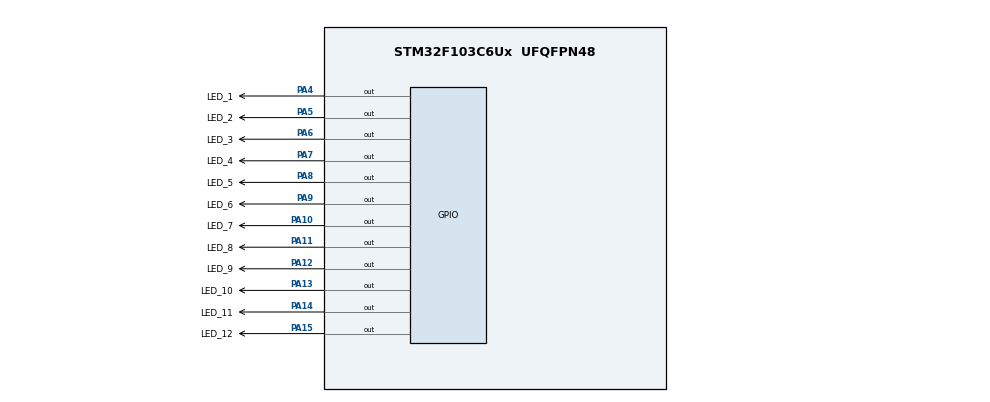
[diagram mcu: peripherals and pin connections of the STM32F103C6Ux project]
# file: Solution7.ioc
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Mcu.Family=STM32F1
Mcu.Name=STM32F103C6Ux
Mcu.Package=UFQFPN48
NVIC.PriorityGroup=NVIC_PRIORITYGROUP_4
PA10.GPIO_Label=LED_7
PA10.Signal=GPIO_Output
PA11.GPIO_Label=LED_8
PA11.Signal=GPIO_Output
PA12.GPIO_Label=LED_9
PA12.Signal=GPIO_Output
PA13.GPIO_Label=LED_10
PA13.Signal=GPIO_Output
PA14.GPIO_Label=LED_11
PA14.Signal=GPIO_Output
PA15.GPIO_Label=LED_12
PA15.Signal=GPIO_Output
PA4.GPIO_Label=LED_1
PA4.Signal=GPIO_Output
PA5.GPIO_Label=LED_2
PA5.Signal=GPIO_Output
PA6.GPIO_Label=LED_3
PA6.Signal=GPIO_Output
PA7.GPIO_Label=LED_4
PA7.Signal=GPIO_Output
PA8.GPIO_Label=LED_5
PA8.Signal=GPIO_Output
PA9.GPIO_Label=LED_6
PA9.Signal=GPIO_Output
ProjectManager.HeapSize=0x200
ProjectManager.StackSize=0x400
ProjectManager.TargetToolchain=STM32CubeIDE
RCC.APB1Freq_Value=8000000
RCC.APB2Freq_Value=8000000
VP_SYS_VS_ND.Mode=No_Debug
board=custom

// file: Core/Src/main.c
/* USER CODE BEGIN Header */
/**
  ******************************************************************************
  * @file           : main.c
  * @brief          : Main program body
  ******************************************************************************
  * @attention
  *
  * <h2><center>&copy; Copyright (c) 2022 STMicroelectronics.
  * All rights reserved.</center></h2>
  *
  * This software component is licensed by ST under BSD 3-Clause license,
  * the "License"; You may not use this file except in compliance with the
  * License. You may obtain a copy of the License at:
  *                        opensource.org/licenses/BSD-3-Clause
  *
  ******************************************************************************
  */
/* USER CODE END Header */
#include "main.h"

void SystemClock_Config(void);
static void MX_GPIO_Init(void);
/* USER CODE BEGIN PFP */
void clearAllClock();
/* USER CODE END PFP */

int main(void)
{
  /* USER CODE BEGIN 1 */
  int count = 0;
  /* USER CODE END 1 */

  /* MCU Configuration--------------------------------------------------------*/

  /* Reset of all peripherals, Initializes the Flash interface and the Systick. */
  HAL_Init();

  /* Configure the system clock */
  SystemClock_Config();

  /* Initialize all configured peripherals */
  MX_GPIO_Init();

  /* Infinite loop */
  /* USER CODE BEGIN WHILE */
  while (1)
  {
	if(count == 6) count = 0;
	if(count == 0) clearAllClock();
	if(count == 1){
		HAL_GPIO_WritePin(LED_1_GPIO_Port, LED_1_Pin, RESET);
		HAL_GPIO_WritePin(LED_2_GPIO_Port, LED_2_Pin, RESET);
		HAL_GPIO_WritePin(LED_3_GPIO_Port, LED_3_Pin, RESET);
		HAL_GPIO_WritePin(LED_4_GPIO_Port, LED_4_Pin, RESET);
	}
	if(count == 2) clearAllClock();
	if(count == 3){
		HAL_GPIO_WritePin(LED_1_GPIO_Port, LED_1_Pin, RESET);
		HAL_GPIO_WritePin(LED_3_GPIO_Port, LED_3_Pin, RESET);
		HAL_GPIO_WritePin(LED_5_GPIO_Port, LED_5_Pin, RESET);
		HAL_GPIO_WritePin(LED_7_GPIO_Port, LED_7_Pin, RESET);
		HAL_GPIO_WritePin(LED_9_GPIO_Port, LED_9_Pin, RESET);
		HAL_GPIO_WritePin(LED_11_GPIO_Port, LED_11_Pin, RESET);
	}
	if(count == 4) clearAllClock();
	if(count == 5) {
		HAL_GPIO_WritePin(LED_2_GPIO_Port, LED_2_Pin, RESET);
		HAL_GPIO_WritePin(LED_4_GPIO_Port, LED_4_Pin, RESET);
		HAL_GPIO_WritePin(LED_6_GPIO_Port, LED_6_Pin, RESET);
		HAL_GPIO_WritePin(LED_8_GPIO_Port, LED_8_Pin, RESET);
		HAL_GPIO_WritePin(LED_10_GPIO_Port, LED_10_Pin, RESET);
		HAL_GPIO_WritePin(LED_12_GPIO_Port, LED_12_Pin, RESET);
	}
	count++;
	HAL_Delay(1000);

    /* USER CODE END WHILE */

  }
}

void SystemClock_Config(void)
{
  RCC_OscInitTypeDef RCC_OscInitStruct = {0};
  RCC_ClkInitTypeDef RCC_ClkInitStruct = {0};

  /** Initializes the RCC Oscillators according to the specified parameters
  * in the RCC_OscInitTypeDef structure.
  */
  RCC_OscInitStruct.OscillatorType = RCC_OSCILLATORTYPE_HSI;
  RCC_OscInitStruct.HSIState = RCC_HSI_ON;
  RCC_OscInitStruct.HSICalibrationValue = RCC_HSICALIBRATION_DEFAULT;
  RCC_OscInitStruct.PLL.PLLState = RCC_PLL_NONE;
  if (HAL_RCC_OscConfig(&RCC_OscInitStruct) != HAL_OK)
  {
    Error_Handler();
  }
  /** Initializes the CPU, AHB and APB buses clocks
  */
  RCC_ClkInitStruct.ClockType = RCC_CLOCKTYPE_HCLK|RCC_CLOCKTYPE_SYSCLK
                              |RCC_CLOCKTYPE_PCLK1|RCC_CLOCKTYPE_PCLK2;
  RCC_ClkInitStruct.SYSCLKSource = RCC_SYSCLKSOURCE_HSI;
  RCC_ClkInitStruct.AHBCLKDivider = RCC_SYSCLK_DIV1;
  RCC_ClkInitStruct.APB1CLKDivider = RCC_HCLK_DIV1;
  RCC_ClkInitStruct.APB2CLKDivider = RCC_HCLK_DIV1;

  if (HAL_RCC_ClockConfig(&RCC_ClkInitStruct, FLASH_LATENCY_0) != HAL_OK)
  {
    Error_Handler();
  }
}

static void MX_GPIO_Init(void)
{
  GPIO_InitTypeDef GPIO_InitStruct = {0};

  /* GPIO Ports Clock Enable */
  __HAL_RCC_GPIOA_CLK_ENABLE();

  /*Configure GPIO pin Output Level */
  HAL_GPIO_WritePin(GPIOA, LED_1_Pin|LED_2_Pin|LED_3_Pin|LED_4_Pin
                          |LED_5_Pin|LED_6_Pin|LED_7_Pin|LED_8_Pin
                          |LED_9_Pin|LED_10_Pin|LED_11_Pin|LED_12_Pin, GPIO_PIN_RESET);

  /*Configure GPIO pins : LED_1_Pin LED_2_Pin LED_3_Pin LED_4_Pin
                           LED_5_Pin LED_6_Pin LED_7_Pin LED_8_Pin
                           LED_9_Pin LED_10_Pin LED_11_Pin LED_12_Pin */
  GPIO_InitStruct.Pin = LED_1_Pin|LED_2_Pin|LED_3_Pin|LED_4_Pin
                          |LED_5_Pin|LED_6_Pin|LED_7_Pin|LED_8_Pin
                          |LED_9_Pin|LED_10_Pin|LED_11_Pin|LED_12_Pin;
  GPIO_InitStruct.Mode = GPIO_MODE_OUTPUT_PP;
  GPIO_InitStruct.Pull = GPIO_NOPULL;
  GPIO_InitStruct.Speed = GPIO_SPEED_FREQ_LOW;
  HAL_GPIO_Init(GPIOA, &GPIO_InitStruct);

}

/* USER CODE BEGIN 4 */
void clearAllClock(){
	HAL_GPIO_WritePin(GPIOA, LED_1_Pin|LED_2_Pin|LED_3_Pin|LED_4_Pin
	                          |LED_5_Pin|LED_6_Pin|LED_7_Pin|LED_8_Pin
	                          |LED_9_Pin|LED_10_Pin|LED_11_Pin|LED_12_Pin, GPIO_PIN_SET);

//	HAL_GPIO_WritePin(LED_1_GPIO_Port, LED_1_Pin, SET);
//	HAL_GPIO_WritePin(LED_2_GPIO_Port, LED_2_Pin, SET);
//	HAL_GPIO_WritePin(LED_3_GPIO_Port, LED_3_Pin, SET);
//	HAL_GPIO_WritePin(LED_4_GPIO_Port, LED_4_Pin, SET);
//	HAL_GPIO_WritePin(LED_5_GPIO_Port, LED_5_Pin, SET);
//	HAL_GPIO_WritePin(LED_6_GPIO_Port, LED_6_Pin, SET);
//	HAL_GPIO_WritePin(LED_7_GPIO_Port, LED_7_Pin, SET);
//	HAL_GPIO_WritePin(LED_8_GPIO_Port, LED_8_Pin, SET);
//	HAL_GPIO_WritePin(LED_9_GPIO_Port, LED_9_Pin, SET);
//	HAL_GPIO_WritePin(LED_10_GPIO_Port, LED_10_Pin, SET);
//	HAL_GPIO_WritePin(LED_11_GPIO_Port, LED_11_Pin, SET);
//	HAL_GPIO_WritePin(LED_12_GPIO_Port, LED_12_Pin, SET);
}
/* USER CODE END 4 */

void Error_Handler(void)
{
  __disable_irq();
  while (1)
  {
  }
}

/************************ (C) COPYRIGHT STMicroelectronics *****END OF FILE****/
